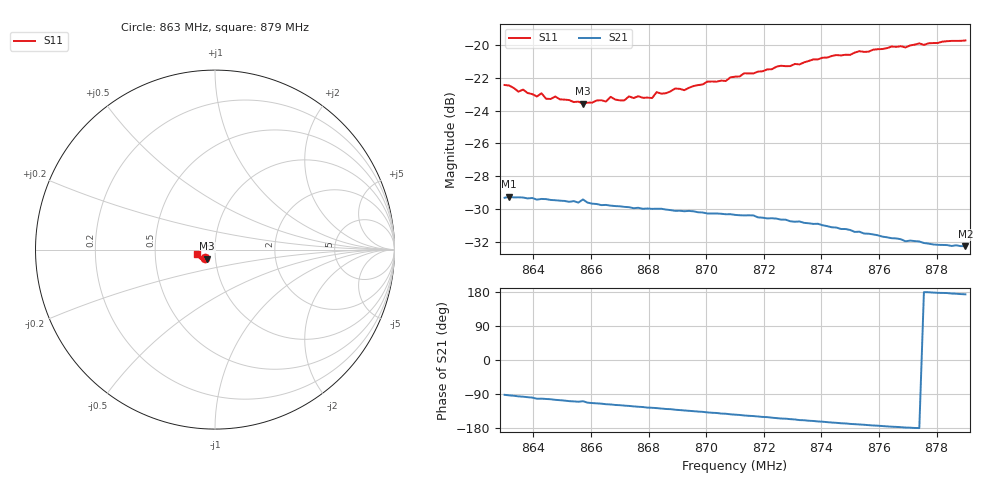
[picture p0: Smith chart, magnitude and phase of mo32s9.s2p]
# HZ S RI R 50
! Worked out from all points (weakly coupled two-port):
!   101 points, 863 MHz to 879 MHz, reference 50 ohm
!   highest |S21| = -29.24 dB at 863.16 MHz (marker M1); lowest = -32.2 dB at 879 MHz (marker M2)
!   lowest |S11| = -23.6 dB at 865.72 MHz (marker M3), VSWR 1.14, Z = 45.7 - j4.63 ohm
!   |S11| at or under -10 dB: start of sweep to end of sweep
!   S12 and S22 are empty: the file has one direction only
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8.63e8  -0.0576 -0.0487  -0.00115 -0.0343  0 0  0 0
8.6316e8  -0.0566 -0.0494  -0.00202 -0.0344  0 0  0 0
8.6348e8  -0.0543 -0.0473  -0.00356 -0.0342  0 0  0 0
8.6364e8  -0.0554 -0.0477  -0.00407 -0.0341  0 0  0 0
8.6412e8  -0.0511 -0.0473  -0.00716 -0.0331  0 0  0 0
8.6428e8  -0.0521 -0.0486  -0.0071 -0.0333  0 0  0 0
8.6444e8  -0.05 -0.0469  -0.00755 -0.0331  0 0  0 0
8.6476e8  -0.0499 -0.0486  -0.00878 -0.0325  0 0  0 0
8.6556e8  -0.0473 -0.0477  -0.0114 -0.0311  0 0  0 0
8.6572e8  -0.0429 -0.0505  -0.0109 -0.0321  0 0  0 0
8.6636e8  -0.0465 -0.0494  -0.0139 -0.0295  0 0  0 0
8.6652e8  -0.0449 -0.0501  -0.0146 -0.0291  0 0  0 0
8.6668e8  -0.0476 -0.0506  -0.0149 -0.0288  0 0  0 0
8.67e8  -0.0453 -0.0504  -0.0158 -0.0282  0 0  0 0
8.6732e8  -0.0456 -0.0527  -0.0166 -0.0275  0 0  0 0
8.6812e8  -0.0451 -0.052  -0.0187 -0.0256  0 0  0 0
8.6828e8  -0.0466 -0.0546  -0.0191 -0.0254  0 0  0 0
8.6844e8  -0.046 -0.0542  -0.0196 -0.025  0 0  0 0
8.71e8  -0.0548 -0.0583  -0.0247 -0.0178  0 0  0 0
8.7372e8  -0.0694 -0.0578  -0.027 -0.00932  0 0  0 0
8.7644e8  -0.0878 -0.0452  -0.0258 -0.0018  0 0  0 0
8.79e8  -0.1001 -0.0245  -0.0243 0.00284  0 0  0 0
